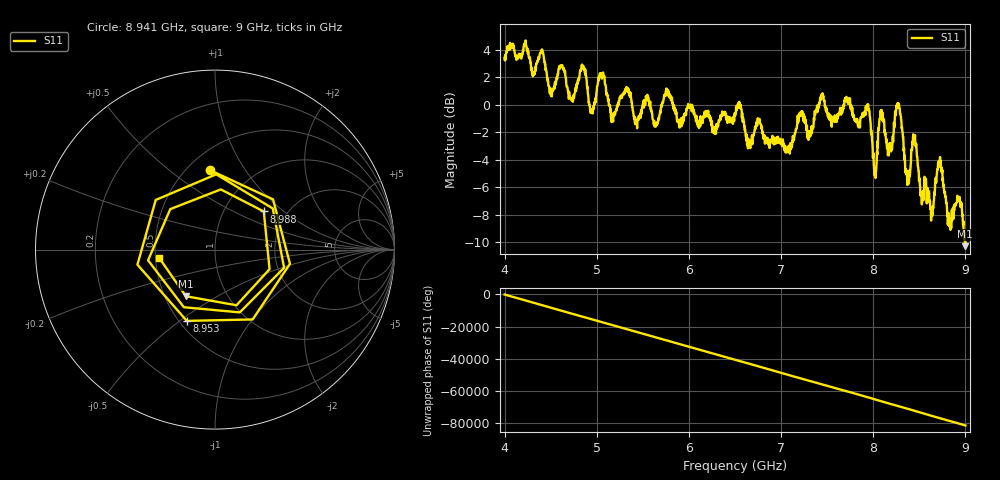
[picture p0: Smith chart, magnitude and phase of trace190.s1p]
! Created with skrf 1.8.0 (http://scikit-rf.org).
# Hz S RI R 50.0
!freq ReS11 ImS11
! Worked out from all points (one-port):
!   1601 points, 4 GHz to 9 GHz, reference 50 ohm
!   lowest |S11| = -10.3 dB at 8.997 GHz (marker M1), VSWR 1.88, Z = 32 - j18.3 ohm
!   |S11| at or under -10 dB: 8.995823 GHz to end of sweep
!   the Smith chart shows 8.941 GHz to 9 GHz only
!   S11 on the Smith chart (normalised r, x): 8.941 GHz: 0.64, +0.71; 8.953 GHz: 0.55, -0.53; 8.988 GHz: 1.53, +0.74; 9 GHz: 0.52, -0.05
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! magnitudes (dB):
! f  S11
! 4 GHz  3.4
! 4.403 GHz  4.0
! 4.509 GHz  0.8
! 4.625 GHz  2.9
! 4.728 GHz  0.3
! 4.844 GHz  2.9
! 4.941 GHz  -0.6
! 5.053 GHz  2.2
! 5.25 GHz  0.5
! 5.875 GHz  -1.2
! 6.5 GHz  -0.8
! 7.125 GHz  -2.7
! 7.75 GHz  0.2
! 7.944 GHz  0.0
! 8.019 GHz  -4.8
! 8.081 GHz  -0.4
! 8.181 GHz  -3.0
! 8.275 GHz  0.0
! 8.375 GHz  -5.4
! 8.447 GHz  -2.4
! 8.634 GHz  -8.1
! 8.719 GHz  -4.1
! 8.825 GHz  -8.8
! 8.941 GHz  -7.1
! 8.953 GHz  -7.4
! 8.988 GHz  -9.2
! 8.997 GHz  -10.3
! 9 GHz  -10.0
